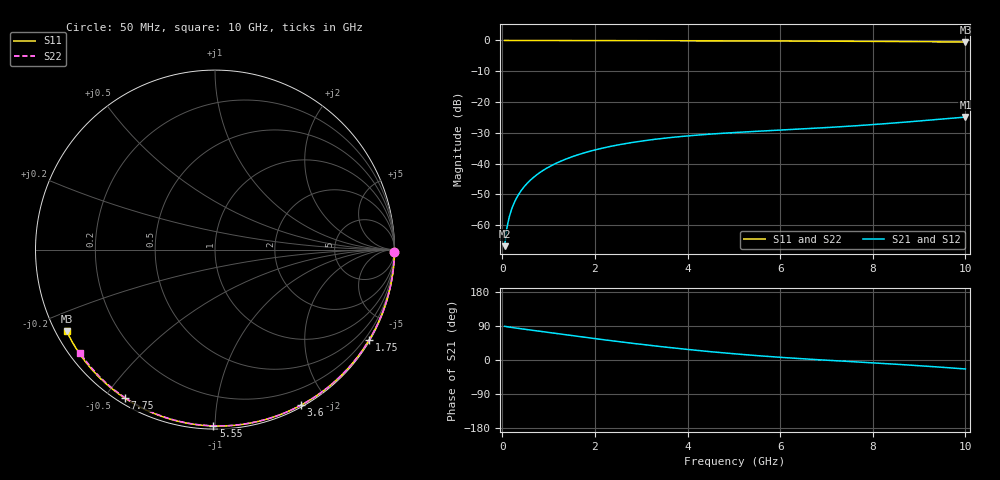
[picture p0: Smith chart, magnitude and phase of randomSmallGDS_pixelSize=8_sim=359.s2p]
! freq	dB(S11)	phase(S11)	dB(S12)	phase(S12)
!  dB(S21)	phase(S21)	dB(S22)	phase(S22)
!S-par simulation data
#  GHz  S  DB  R 50
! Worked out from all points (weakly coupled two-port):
!   200 points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, 50 MHz to 10 GHz, reference 50 ohm
!   highest |S21| = -24.90 dB at 10 GHz (marker M1); lowest = -66.9 dB at 50 MHz (marker M2)
!   lowest |S11| = -0.5 dB at 10 GHz (marker M3), VSWR 34.21, Z = 1.56 - j12.8 ohm
!   |S11| at or under -10 dB: nowhere
!   |S22| runs from -0.5 to 0.0 dB; largest |S21 - S12| = 0
!   S11 on the Smith chart (normalised r, x): 50 MHz: open; 1.75 GHz: 0.03, -3.67; 3.6 GHz: 0.02, -1.70; 5.55 GHz: 0.02, -0.99; 7.75 GHz: 0.02, -0.56; 10 GHz: 0.03, -0.26
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0.05  -0.00 -0.9  -66.85 88.9  -66.85 88.9  -0.00 -0.8
0.1  -0.00 -1.8  -60.85 87.8  -60.85 87.8  -0.00 -1.7
0.15  -0.00 -2.7  -57.36 86.9  -57.36 86.9  -0.00 -2.5
0.2  -0.00 -3.6  -54.89 85.9  -54.89 85.9  -0.00 -3.4
0.25  -0.00 -4.4  -52.97 85.0  -52.97 85.0  -0.00 -4.2
0.35  -0.00 -6.2  -50.09 83.4  -50.09 83.4  -0.00 -5.9
0.5  -0.01 -8.9  -47.04 80.9  -47.04 80.9  -0.01 -8.4
0.7  -0.01 -12.4  -44.18 77.6  -44.18 77.6  -0.01 -11.7
1  -0.02 -17.6  -41.17 72.6  -41.17 72.6  -0.02 -16.7
1.35  -0.03 -23.6  -38.68 66.9  -38.68 66.9  -0.03 -22.4
1.75  -0.04 -30.5  -36.61 60.4  -36.61 60.4  -0.04 -28.9
2.5  -0.06 -43.1  -33.95 48.7  -33.95 48.7  -0.05 -40.9
3.4  -0.08 -57.8  -31.94 35.7  -31.94 35.7  -0.08 -54.8
3.6  -0.08 -61.0  -31.60 33.0  -31.60 33.0  -0.08 -57.8
4.3  -0.10 -71.9  -30.65 24.3  -30.65 24.3  -0.10 -68.2
5.05  -0.13 -83.2  -29.90 16.0  -29.90 16.0  -0.12 -78.9
5.55  -0.15 -90.5  -29.48 11.1  -29.48 11.1  -0.14 -85.9
6.7  -0.21 -106.8  -28.57 1.6  -28.57 1.6  -0.20 -101.2
7.75  -0.28 -121.1  -27.61 -5.8  -27.61 -5.8  -0.27 -114.7
8.35  -0.33 -129.2  -26.95 -10.0  -26.95 -10.0  -0.31 -122.2
9.2  -0.41 -140.5  -25.93 -16.7  -25.93 -16.7  -0.39 -132.6
10  -0.51 -151.3  -24.90 -23.7  -24.90 -23.7  -0.48 -142.4
